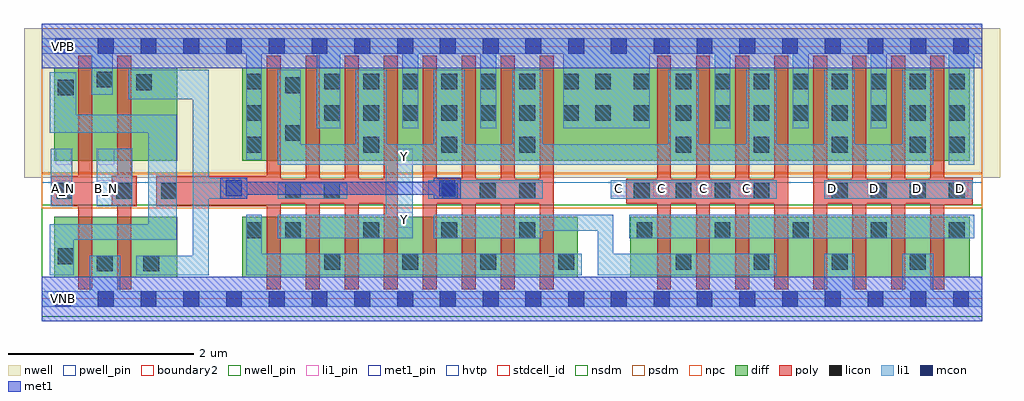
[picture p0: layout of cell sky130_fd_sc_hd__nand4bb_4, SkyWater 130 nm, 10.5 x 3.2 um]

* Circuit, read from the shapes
.subckt sky130_fd_sc_hd__nand4bb_4 A_N B_N C D VGND VNB VPB VPWR Y
XM1 VGND A_N n1 VNB sky130_fd_pr__nfet_01v8 w=0.65 l=0.15
XM2 n2 B_N VGND VNB sky130_fd_pr__nfet_01v8 w=0.65 l=0.15
XM3 Y n1 n3 VNB sky130_fd_pr__nfet_01v8 w=0.65 l=0.15 m=4
XM4 n4 n2 n3 VNB sky130_fd_pr__nfet_01v8 w=0.65 l=0.15 m=4
XM5 n4 C n5 VNB sky130_fd_pr__nfet_01v8 w=0.65 l=0.15 m=4
XM6 VGND D n5 VNB sky130_fd_pr__nfet_01v8 w=0.65 l=0.15 m=4
XM7 VPWR A_N n1 VPB sky130_fd_pr__pfet_01v8_hvt w=1 l=0.15
XM8 n2 B_N VPWR VPB sky130_fd_pr__pfet_01v8_hvt w=1 l=0.15
XM9 Y n1 VPWR VPB sky130_fd_pr__pfet_01v8_hvt w=1 l=0.15 m=4
XM10 Y n2 VPWR VPB sky130_fd_pr__pfet_01v8_hvt w=1 l=0.15 m=4
XM11 Y C VPWR VPB sky130_fd_pr__pfet_01v8_hvt w=1 l=0.15 m=4
XM12 Y D VPWR VPB sky130_fd_pr__pfet_01v8_hvt w=1 l=0.15 m=4
.ends

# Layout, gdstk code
import gdstk
lib = gdstk.Library(unit=1e-6, precision=1e-09)
def R(c, l, rs):  # rectangles x0, y0, x1, y1
    for r in rs: c.add(gdstk.rectangle(r[:2], r[2:], *l))
def A(c, l, x, y, w, h, nx, ny, dx, dy):  # array of equal rectangles
    R(c, l, [(x+i*dx, y+j*dy, x+i*dx+w, y+j*dy+h) for i in range(nx) for j in range(ny)])
def P(c, l, *ps):  # polygons
    for p in ps: c.add(gdstk.Polygon(p, *l))
nwell_pin = (64, 16)
nwell = (64, 20)
diff = (65, 20)
poly = (66, 20)
licon = (66, 44)
li1_pin = (67, 16)
li1 = (67, 20)
mcon = (67, 44)
met1_pin = (68, 16)
met1 = (68, 20)
hvtp = (78, 44)
stdcell_id = (81, 4)
nsdm = (93, 44)
psdm = (94, 20)
npc = (95, 20)
pwell_pin = (122, 16)
boundary2 = (236, 0)

sky130_fd_sc_hd__nand4bb = lib.new_cell('sky130_fd_sc_hd__nand4bb_4')
R(sky130_fd_sc_hd__nand4bb, nwell_pin, [(0.145,2.635,0.315,2.805)])
R(sky130_fd_sc_hd__nand4bb, nwell, [(-0.19,1.305,10.31,2.91)])
R(sky130_fd_sc_hd__nand4bb, diff, [(0.135,0.235,1.46,0.885), (2.16,0.235,5.77,0.885), (6.33,0.235,9.985,0.885), (0.135,1.485,1.46,2.485), (2.16,1.485,9.985,2.485)])
R(sky130_fd_sc_hd__nand4bb, poly, [(9.71,1.015,10.015,1.025), (9.71,1.295,10.015,1.305)])
P(sky130_fd_sc_hd__nand4bb, poly, [(5.51,2.615),(5.36,2.615),(5.36,1.295),(5.09,1.295),(5.09,2.615),(4.94,2.615),(4.94,1.295),(4.67,1.295),(4.67,2.615),(4.52,2.615),(4.52,1.295),(4.25,1.295),(4.25,2.615),(4.1,2.615),(4.1,0.105),(4.25,0.105),(4.25,1.025),(4.52,1.025),(4.52,0.105),(4.67,0.105),(4.67,1.025),(4.94,1.025),(4.94,0.105),(5.09,0.105),(5.09,1.025),(5.36,1.025),(5.36,0.105),(5.51,0.105)],
  [(8.03,2.615),(7.88,2.615),(7.88,1.295),(7.61,1.295),(7.61,2.615),(7.46,2.615),(7.46,1.295),(7.19,1.295),(7.19,2.615),(7.04,2.615),(7.04,1.295),(6.77,1.295),(6.77,2.615),(6.62,2.615),(6.62,1.295),(6.29,1.295),(6.29,1.025),(6.62,1.025),(6.62,0.105),(6.77,0.105),(6.77,1.025),(7.04,1.025),(7.04,0.105),(7.19,0.105),(7.19,1.025),(7.46,1.025),(7.46,0.105),(7.61,0.105),(7.61,1.025),(7.88,1.025),(7.88,0.105),(8.03,0.105)],
  [(3.83,2.615),(3.68,2.615),(3.68,1.295),(3.41,1.295),(3.41,2.615),(3.26,2.615),(3.26,1.295),(2.99,1.295),(2.99,2.615),(2.84,2.615),(2.84,1.295),(2.57,1.295),(2.57,2.615),(2.42,2.615),(2.42,1.325),(1.235,1.325),(1.235,0.995),(2.42,0.995),(2.42,0.105),(2.57,0.105),(2.57,1.025),(2.84,1.025),(2.84,0.105),(2.99,0.105),(2.99,1.025),(3.26,1.025),(3.26,0.105),(3.41,0.105),(3.41,1.025),(3.68,1.025),(3.68,0.105),(3.83,0.105)],
  [(1.025,1.325),(0.965,1.325),(0.965,2.615),(0.815,2.615),(0.815,1.325),(0.755,1.325),(0.755,0.995),(0.815,0.995),(0.815,0.105),(0.965,0.105),(0.965,0.995),(1.025,0.995)],
  [(0.545,2.615),(0.395,2.615),(0.395,1.325),(0.105,1.325),(0.105,0.995),(0.395,0.995),(0.395,0.105),(0.545,0.105)],
  [(10.015,1.295),(9.71,1.295),(9.71,2.615),(9.56,2.615),(9.56,1.295),(9.29,1.295),(9.29,2.615),(9.14,2.615),(9.14,1.295),(8.87,1.295),(8.87,2.615),(8.72,2.615),(8.72,1.295),(8.45,1.295),(8.45,2.615),(8.3,2.615),(8.3,0.105),(8.45,0.105),(8.45,1.025),(8.72,1.025),(8.72,0.105),(8.87,0.105),(8.87,1.025),(9.14,1.025),(9.14,0.105),(9.29,0.105),(9.29,1.025),(9.56,1.025),(9.56,0.105),(9.71,0.105),(9.71,1.025),(10.015,1.025)])
A(sky130_fd_sc_hd__nand4bb, licon, 3.04, 0.315, 0.17, 0.17, 4, 1, 0.84, 0)
A(sky130_fd_sc_hd__nand4bb, licon, 6.82, 0.315, 0.17, 0.17, 4, 2, 0.84, 1.26)
A(sky130_fd_sc_hd__nand4bb, licon, 2.62, 0.655, 0.17, 0.17, 4, 1, 0.84, 0)
A(sky130_fd_sc_hd__nand4bb, licon, 6.4, 0.655, 0.17, 0.17, 5, 1, 0.84, 0)
A(sky130_fd_sc_hd__nand4bb, licon, 6.82, 1.075, 0.17, 0.17, 3, 1, 0.42, 0)
A(sky130_fd_sc_hd__nand4bb, licon, 8.5, 1.075, 0.17, 0.17, 4, 1, 0.42, 0)
A(sky130_fd_sc_hd__nand4bb, licon, 2.2, 1.575, 0.17, 0.17, 1, 3, 0, 0.34)
A(sky130_fd_sc_hd__nand4bb, licon, 3.46, 1.575, 0.17, 0.17, 3, 1, 0.84, 0)
A(sky130_fd_sc_hd__nand4bb, licon, 3.04, 1.915, 0.17, 0.17, 6, 2, 0.42, 0.34)
A(sky130_fd_sc_hd__nand4bb, licon, 6.82, 1.915, 0.17, 0.17, 8, 2, 0.42, 0.34)
R(sky130_fd_sc_hd__nand4bb, licon, [(0.595,0.295,0.765,0.465), (1.095,0.295,1.265,0.465), (0.175,0.375,0.345,0.545), (2.2,0.655,2.37,0.825), (0.16,1.075,0.33,1.245), (0.805,1.075,0.975,1.245), (1.285,1.075,1.455,1.245), (2.62,1.075,2.79,1.245), (3.035,1.075,3.205,1.245), (4.305,1.075,4.475,1.245), (4.715,1.075,4.885,1.245), (5.14,1.075,5.31,1.245), (6.37,1.075,6.54,1.245), (9.76,1.575,9.93,1.745), (2.62,1.7,2.79,1.87), (5.61,1.915,5.78,2.085), (5.955,1.915,6.125,2.085), (6.37,1.915,6.54,2.085), (0.175,2.19,0.345,2.36), (2.62,2.215,2.79,2.385), (1.015,2.245,1.185,2.415), (5.61,2.255,5.78,2.425), (5.955,2.255,6.125,2.425), (6.37,2.255,6.54,2.425), (0.595,2.275,0.765,2.445)])
A(sky130_fd_sc_hd__nand4bb, li1_pin, 6.12, 1.105, 0.17, 0.17, 4, 1, 0.46, 0)
A(sky130_fd_sc_hd__nand4bb, li1_pin, 8.42, 1.105, 0.17, 0.17, 4, 1, 0.46, 0)
R(sky130_fd_sc_hd__nand4bb, li1_pin, [(3.82,0.765,3.99,0.935), (0.15,1.105,0.32,1.275), (0.61,1.105,0.78,1.275), (0.15,1.445,0.32,1.615), (0.61,1.445,0.78,1.615), (3.82,1.445,3.99,1.615)])
R(sky130_fd_sc_hd__nand4bb, li1, [(6.32,0.655,10.035,0.905), (0.1,0.995,0.33,1.615), (0.59,0.995,0.975,1.615), (2.54,1.075,3.285,1.245), (4.16,1.075,5.39,1.275), (6.12,1.075,7.91,1.275), (8.42,1.075,10.015,1.275)])
P(sky130_fd_sc_hd__nand4bb, li1, [(10.12,0.085),(9.59,0.085),(9.59,0.485),(9.26,0.485),(9.26,0.085),(8.75,0.085),(8.75,0.485),(8.42,0.485),(8.42,0.085),(0.845,0.085),(0.845,0.465),(0.515,0.465),(0.515,0.085),(0,0.085),(0,-0.085),(10.12,-0.085)],
  [(10.12,2.805),(0,2.805),(0,2.635),(0.54,2.635),(0.54,2.195),(0.765,2.195),(0.765,2.635),(2.2,2.635),(2.2,1.495),(2.37,1.495),(2.37,2.635),(2.96,2.635),(2.96,1.835),(3.21,1.835),(3.21,2.635),(3.88,2.635),(3.88,1.835),(4.05,1.835),(4.05,2.635),(4.72,2.635),(4.72,1.835),(4.89,1.835),(4.89,2.635),(5.61,2.635),(5.61,1.835),(6.54,1.835),(6.54,2.635),(7.24,2.635),(7.24,1.835),(7.41,1.835),(7.41,2.635),(8.08,2.635),(8.08,1.835),(8.25,1.835),(8.25,2.635),(8.92,2.635),(8.92,1.835),(9.09,1.835),(9.09,2.635),(9.76,2.635),(9.76,1.445),(10.035,1.445),(10.035,2.635),(10.12,2.635)],
  [(2.21,1.305),(1.795,1.305),(1.795,2.465),(0.935,2.465),(0.935,2.15),(1.625,2.15),(1.625,0.465),(1.015,0.465),(1.015,0.255),(1.795,0.255),(1.795,1.075),(2.21,1.075)],
  [(1.455,1.98),(0.37,1.98),(0.37,2.44),(0.085,2.44),(0.085,1.785),(1.145,1.785),(1.145,0.805),(0.085,0.805),(0.085,0.255),(0.345,0.255),(0.345,0.635),(1.455,0.635)],
  [(9.59,2.465),(9.26,2.465),(9.26,1.665),(8.75,1.665),(8.75,2.465),(8.42,2.465),(8.42,1.665),(7.91,1.665),(7.91,2.465),(7.58,2.465),(7.58,1.665),(7.07,1.665),(7.07,2.465),(6.74,2.465),(6.74,1.665),(5.39,1.665),(5.39,2.465),(5.06,2.465),(5.06,1.665),(4.55,1.665),(4.55,2.465),(4.22,2.465),(4.22,1.665),(3.71,1.665),(3.71,2.465),(3.38,2.465),(3.38,1.665),(2.79,1.665),(2.79,2.465),(2.54,2.465),(2.54,1.445),(3.7,1.445),(3.7,0.905),(2.54,0.905),(2.54,0.655),(3.99,0.655),(3.99,1.445),(9.59,1.445)],
  [(7.91,0.485),(6.15,0.485),(6.15,0.905),(4.22,0.905),(4.22,0.655),(5.39,0.655),(5.39,0.735),(5.98,0.735),(5.98,0.255),(7.91,0.255)],
  [(5.81,0.485),(2.37,0.485),(2.37,0.905),(2.2,0.905),(2.2,0.255),(5.81,0.255)])
A(sky130_fd_sc_hd__nand4bb, mcon, 0.145, -0.085, 0.17, 0.17, 22, 2, 0.46, 2.72)
R(sky130_fd_sc_hd__nand4bb, mcon, [(1.98,1.105,2.15,1.275), (4.28,1.105,4.45,1.275)])
R(sky130_fd_sc_hd__nand4bb, met1_pin, [(0.145,-0.085,0.315,0.085), (0.145,2.635,0.315,2.805)])
P(sky130_fd_sc_hd__nand4bb, met1, [(4.51,1.305),(4.22,1.305),(4.22,1.26),(2.21,1.26),(2.21,1.305),(1.92,1.305),(1.92,1.075),(2.21,1.075),(2.21,1.12),(4.22,1.12),(4.22,1.075),(4.51,1.075)])
R(sky130_fd_sc_hd__nand4bb, hvtp, [(0,1.25,10.12,2.72)])
R(sky130_fd_sc_hd__nand4bb, stdcell_id, [(0,0,10.12,2.72)])
R(sky130_fd_sc_hd__nand4bb, nsdm, [(0,-0.19,10.12,1.015)])
R(sky130_fd_sc_hd__nand4bb, psdm, [(0,1.355,10.12,2.91)])
R(sky130_fd_sc_hd__nand4bb, npc, [(0,0.975,10.12,1.345)])
R(sky130_fd_sc_hd__nand4bb, pwell_pin, [(0.145,-0.085,0.315,0.085)])
R(sky130_fd_sc_hd__nand4bb, boundary2, [(0,0,10.12,2.72)])
sky130_fd_sc_hd__nand4bb.add(gdstk.FlexPath([(0,2.72),(10.12,2.72)], 0.48, ends="flush", simple_path=True, layer=68, datatype=20))  # met1
sky130_fd_sc_hd__nand4bb.add(gdstk.FlexPath([(0,0),(10.12,0)], 0.48, ends="flush", simple_path=True, layer=68, datatype=20))  # met1
sky130_fd_sc_hd__nand4bb.add(gdstk.Label('B_N', (0.695,1.19), layer=67, texttype=5))
sky130_fd_sc_hd__nand4bb.add(gdstk.Label('A_N', (0.235,1.19), layer=67, texttype=5))
sky130_fd_sc_hd__nand4bb.add(gdstk.Label('C', (6.205,1.19), layer=67, texttype=5))
sky130_fd_sc_hd__nand4bb.add(gdstk.Label('Y', (3.905,0.85), layer=67, texttype=5))
sky130_fd_sc_hd__nand4bb.add(gdstk.Label('Y', (3.905,1.53), layer=67, texttype=5))
sky130_fd_sc_hd__nand4bb.add(gdstk.Label('C', (6.665,1.19), layer=67, texttype=5))
sky130_fd_sc_hd__nand4bb.add(gdstk.Label('C', (7.125,1.19), layer=67, texttype=5))
sky130_fd_sc_hd__nand4bb.add(gdstk.Label('C', (7.585,1.19), layer=67, texttype=5))
sky130_fd_sc_hd__nand4bb.add(gdstk.Label('D', (8.505,1.19), layer=67, texttype=5))
sky130_fd_sc_hd__nand4bb.add(gdstk.Label('D', (9.425,1.19), layer=67, texttype=5))
sky130_fd_sc_hd__nand4bb.add(gdstk.Label('D', (9.885,1.19), layer=67, texttype=5))
sky130_fd_sc_hd__nand4bb.add(gdstk.Label('D', (8.965,1.19), layer=67, texttype=5))
sky130_fd_sc_hd__nand4bb.add(gdstk.Label('VNB', (0.23,0), layer=64, texttype=59))
sky130_fd_sc_hd__nand4bb.add(gdstk.Label('VPB', (0.23,2.72), layer=64, texttype=5))
sky130_fd_sc_hd__nand4bb.add(gdstk.Label('VGND', (0.23,0), layer=68, texttype=5))
sky130_fd_sc_hd__nand4bb.add(gdstk.Label('VPWR', (0.23,2.72), layer=68, texttype=5))
sky130_fd_sc_hd__nand4bb.add(gdstk.Label('nand4bb_4', (0,0), layer=83, texttype=44))

lib.write_gds('sky130_fd_sc_hd__nand4bb_4.gds')
